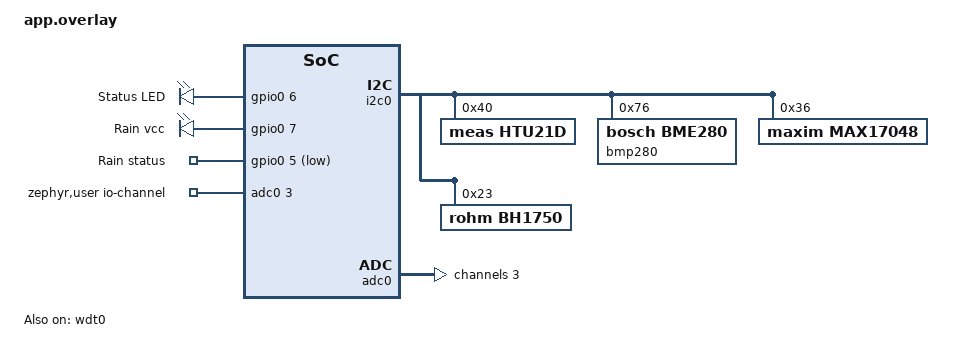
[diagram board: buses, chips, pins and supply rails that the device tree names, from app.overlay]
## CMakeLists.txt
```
cmake_minimum_required(VERSION 3.28.0)

set(BOARD_FLASH_RUNNER openocd)

find_package(Zephyr REQUIRED HINTS $ENV{ZEPHYR_BASE})

project(IoT_WeatherStation)

target_include_directories(app PRIVATE include)

target_sources(app PRIVATE 
src/main.cpp 
src/formulas.c 
src/wifi.c
src/mqtt.c
src/init.c
src/watchdog.c
src/creds/ca.c
src/creds/cert.c
src/creds/key.c)

# Optional features:
target_compile_definitions(app PRIVATE
	# LED_DIODE               # status LED on during the active phase
	# WAKE_COUNT              # read the battery only every BATTERY_READ_EVERY-th wake-up
	# BATTERY_READ_EVERY=10   # needed together with WAKE_COUNT
)
```

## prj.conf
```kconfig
CONFIG_GPIO=y
CONFIG_LOG=y
CONFIG_LOG_MODE_IMMEDIATE=y
CONFIG_I2C=y
CONFIG_SENSOR=y
CONFIG_CBPRINTF_FP_SUPPORT=y
CONFIG_POWEROFF=y

# Wi-Fi
CONFIG_NETWORKING=y
CONFIG_NET_IPV4=y
CONFIG_NET_DHCPV4=y

CONFIG_WIFI=y
CONFIG_NET_L2_WIFI_MGMT=y

CONFIG_NET_MGMT=y
CONFIG_NET_MGMT_EVENT=y
CONFIG_NET_MGMT_EVENT_INFO=y

# Stos dla main
CONFIG_MAIN_STACK_SIZE=8192

# Sprzętowy RNG ESP32
CONFIG_ENTROPY_GENERATOR=y

# Sieć: TCP, UDP (dla DNS), sockety
CONFIG_NET_TCP=y
CONFIG_NET_UDP=y
CONFIG_NET_SOCKETS=y
CONFIG_NET_SOCKETS_SOCKOPT_TLS=y

# DNS
CONFIG_DNS_RESOLVER=y
CONFIG_DNS_SERVER_IP_ADDRESSES=y
CONFIG_DNS_SERVER1="8.8.8.8"

# MQTT
CONFIG_MQTT_LIB=y
CONFIG_MQTT_LIB_TLS=y

# TLS (mbedTLS)
CONFIG_MBEDTLS=y
CONFIG_MBEDTLS_ENABLE_HEAP=y
CONFIG_MBEDTLS_HEAP_SIZE=65536
CONFIG_MBEDTLS_SSL_IN_CONTENT_LEN=16384
CONFIG_MBEDTLS_SSL_OUT_CONTENT_LEN=16384
CONFIG_MBEDTLS_PEM_PARSE_C=y
CONFIG_MBEDTLS_SSL_SERVER_NAME_INDICATION=y
CONFIG_MBEDTLS_CIPHERSUITE_TLS_ECDHE_RSA_WITH_AES_128_CBC_SHA256=y

# Battery lvl sensor
CONFIG_FUEL_GAUGE=y

# WDG
CONFIG_WATCHDOG=y

# BMP
CONFIG_BME280_MODE_FORCED=y

# JSON
CONFIG_JSON_LIBRARY=y

# ADC
CONFIG_ADC=y

# Cpp
CONFIG_CPP=y
```

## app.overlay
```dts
#include <zephyr/dt-bindings/adc/adc.h>


/ {
	aliases {
		status-led = &status_led;
		rain-status = &rain_status;
		rain-vcc = &rain_vcc_pin;
	};

	leds {
		compatible = "gpio-leds";
		status_led: status_led {
			gpios = <&gpio0 6 GPIO_ACTIVE_HIGH>;
			label = "Status LED";
		};
		rain_vcc_pin: rain_vcc_pin {
			gpios = <&gpio0 7 GPIO_ACTIVE_HIGH>;
			label = "Rain vcc";
		};
	};

	gpio_keys {
		compatible = "gpio-keys";
		rain_status: rain_status {
			gpios = <&gpio0 5 (GPIO_PULL_UP | GPIO_ACTIVE_LOW)>;
			label = "Rain status";
		};
};
};

&pinctrl {
	i2c0_default: i2c0_default {
		group1 {
			pinmux = <I2C0_SDA_GPIO1>,
				 <I2C0_SCL_GPIO2>;
			bias-pull-up;
			drive-open-drain;
			output-high;
		};
	};
};

&i2c0 {
	status = "okay";

	htu21d: htu21d@40 {
		compatible = "meas,htu21d";
		reg = <0x40>;
		status = "okay";
	};

	bmp280: bmp280@76 {
		compatible = "bosch,bme280";
		reg = <0x76>;
		status = "okay";
	};

	max17048: max17048@36 {
		compatible = "maxim,max17048";
		reg = <0x36>;
		status = "okay";
	};

	bh1750: bh1750@23 {
		compatible = "rohm,bh1750";
		reg = <0x23>;
		status = "okay";
	};
	
};

/ {
	zephyr,user {
		io-channels = <&adc0 3>;
	};
};

&adc0 {
	status = "okay";
	#address-cells = <1>;
	#size-cells = <0>;

	channel@3 {
		reg = <3>;
		zephyr,gain = "ADC_GAIN_1_4";
		zephyr,reference = "ADC_REF_INTERNAL";
		zephyr,acquisition-time = <ADC_ACQ_TIME_DEFAULT>;
		zephyr,resolution = <12>;
	};
};


&wdt0 {
    status = "okay";
};
```

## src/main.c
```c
#include <zephyr/kernel.h>
#include <zephyr/drivers/gpio.h>
#include <zephyr/drivers/adc.h>
#include <zephyr/device.h>
#include <zephyr/logging/log.h>
#include <zephyr/drivers/i2c.h>

// Json Parsing
#include <zephyr/data/json.h>
#include <string.h>

// HTU21D BMP280
#include <zephyr/drivers/sensor.h>
// MAX17048
#include <zephyr/drivers/fuel_gauge.h>

#include <errno.h>
#include <zephyr/sys/poweroff.h>
#include <esp_sleep.h>
#include <stdio.h>

// RTC memory
#include <esp_attr.h>

// User .h files
#include "formulas.h"
#include "wifi.h"
#include "mqtt.h"
#include "init.h"
#include "watchdog.h"

// **** Additional options in the code ****

// 1) Status diode -> enable LED_DIODE in CMakeLists.txt
// 2) Read the battery only every BATTERY_READ_EVERY-th wake-up -> enable both
//    WAKE_COUNT and BATTERY_READ_EVERY in CMakeLists.txt

#if defined(WAKE_COUNT) && !defined(BATTERY_READ_EVERY)
#error "WAKE_COUNT needs BATTERY_READ_EVERY to be defined"
#endif

#ifdef LED_DIODE
static const struct gpio_dt_spec led = GPIO_DT_SPEC_GET(DT_ALIAS(status_led), gpios);
#endif
static const struct gpio_dt_spec rain = GPIO_DT_SPEC_GET(DT_ALIAS(rain_status), gpios);
static const struct device *htu = DEVICE_DT_GET(DT_NODELABEL(htu21d));
static const struct device *bmp = DEVICE_DT_GET(DT_NODELABEL(bmp280));
static const struct device *max = DEVICE_DT_GET(DT_NODELABEL(max17048));
static const struct device *bh = DEVICE_DT_GET(DT_NODELABEL(bh1750));

/* Data of ADC io-channels specified in devicetree. */
static const struct adc_dt_spec rain_adc = ADC_DT_SPEC_GET(DT_PATH(zephyr_user));

LOG_MODULE_REGISTER(main, LOG_LEVEL_DBG);

struct htu21d_data
{
	struct sensor_value temperature;
	struct sensor_value humidity;
};

struct bmp280_data
{
	struct sensor_value pressure;
};

struct bh1750_data
{
	struct sensor_value lux; 
};

// Functions definitions
static int htu21d_read(struct htu21d_data *data);
static int bmp280_read(struct bmp280_data *data);
static int bh1750_read(struct bh1750_data *data);
static void Deep_sleep(void);
static int rain_adc_read(void);

#ifdef WAKE_COUNT
static RTC_DATA_ATTR uint32_t wake_count;
#endif
/*
 Keeping ptc in RTC memory means it survives deep sleep, so MQTT can send
 the last battery % reading on wake-ups where the battery is not read
 (only used when WAKE_COUNT is defined, otherwise it is read every wake-up)
*/
static RTC_DATA_ATTR int ptc = -1;

/* Wake up time kept in RTC memory, so a new interval from AWS survives deep sleep */
static RTC_DATA_ATTR uint32_t wakeup_time_sec = 60;

struct wake_time 
{
	int32_t interval;
};

static const struct json_obj_descr command_descr[] = {
	JSON_OBJ_DESCR_PRIM(struct wake_time, interval, JSON_TOK_NUMBER),
};


int main(void)
{
	struct htu21d_data data_htu;
	struct bmp280_data data_bmp;
	struct bh1750_data data_bh;
	double dew_point;
	double cloud_height;
	union fuel_gauge_prop_val val;

	

	if (watchdog_init() != 0)
	{
		Deep_sleep();
	}

#ifdef LED_DIODE
	if (gpio_init() == 0)
	{
		gpio_pin_set_dt(&led, 1);
	}
	else
	{
		Deep_sleep();
	}
#endif

	if (rain_init() != 0)
	{
		Deep_sleep();
	}

	if (adc_init() != 0) {
		Deep_sleep();
	}
	
	if (htu21d_init() != 0)
	{
		Deep_sleep();
	}

	if (bmp280_init() != 0)
	{
		Deep_sleep();
	}

	if (bh1750_init() != 0)
	{
		Deep_sleep();
	}

	// Do not disturb the whole process, just return an error
	if (max17048_init() != 0)
	{
		LOG_ERR("Battery level sensor failed...");
	}

#ifdef WAKE_COUNT
	wake_count++;
	// Read the % of the battery once every BATTERY_READ_EVERYth wake up times
	if ((wake_count - 1) % BATTERY_READ_EVERY == 0)
	{
#endif
		if (fuel_gauge_get_prop(max, FUEL_GAUGE_RELATIVE_STATE_OF_CHARGE_PCT, &val) == 0)
		{
			ptc = val.relative_state_of_charge_pct;
			LOG_INF("Battery percent is: [%d%%]", ptc);
		}
		else
		{
			ptc = -1;
			LOG_ERR("Battery read failed...");
		}

#ifdef WAKE_COUNT
	}
#endif

	// Buffers for the MQTT messages
	char payload[156];
	char payload2[64];

	/* There is no point in connecting to Wi-Fi if the sensor is not working,
	   just go to sleep */
	if (htu21d_read(&data_htu) != 0)
	{
		LOG_ERR("HTU Sensor failed -> skipping Wi-Fi and MQTT, going to sleep...");
		Deep_sleep();
	}

	if (bmp280_read(&data_bmp) != 0) {
		LOG_ERR("BMP Sensor failed -> skipping Wi-Fi and MQTT, going to sleep...");
		Deep_sleep();
	}

	if (bh1750_read(&data_bh) != 0) {
		LOG_ERR("BH Sensor failed -> skipping Wi-Fi and MQTT, going to sleep...");
		Deep_sleep();
	}

	// Data conversion: val1 + val2 -> double temp/hum
	double temp = sensor_value_to_double(&data_htu.temperature);
	double hum = sensor_value_to_double(&data_htu.humidity);
	double press = sensor_value_to_double(&data_bmp.pressure) * 10.0; // kPa -> hPa
	double lux = sensor_value_to_double(&data_bh.lux);
	bool rain_state = (gpio_pin_get_dt(&rain));
	int rain_mv = rain_adc_read();

	if (rain_mv < 0) {
		LOG_ERR("Rain ADC failed -> skipping Wi-Fi and MQTT, going to sleep...");
		Deep_sleep();
	}

	if (dew_point_calculation(temp, hum, &dew_point) == 0)
	{
		cloud_height_calculation(temp, dew_point, &cloud_height);
		LOG_INF("Lux: %.2f, Pressure: %.2f, Temperature: %.2f, Humidity: %.2f, Dew point: %.2f, Cloud height: %.2f, Rain: %d, Rain_ADC: %d",
				lux, press, temp, hum, dew_point, cloud_height, rain_state, rain_mv);

		snprintf(payload, sizeof(payload),
				 "{\"lux\":%.2f, \"pressure\":%.2f, \"temperature\":%.2f,\"humidity\":%.2f,"
				 "\"dew_point\":%.2f,\"cloud_height\":%.2f, \"Rain\":%d, \"Rain_ADC\":%d}",
				 lux, press, temp, hum, dew_point, cloud_height, rain_state, rain_mv);
	}
	else
	{
		LOG_ERR("Dew point calculation failed, sending other parameters...");

		snprintf(payload, sizeof(payload),
				 "{\"lux\":%.2f, \"pressure\":%.2f, \"temperature\":%.2f,\"humidity\":%.2f,\"Rain\":%d, \"Rain_ADC\":%d}",
				  lux, press, temp, hum, rain_state, rain_mv);
	}

	snprintf(payload2, sizeof(payload2),
			 "{\"battery percent\":%d}", ptc);

	if (wifi_connect() != 0)
	{
		Deep_sleep();
	}

	if (aws_mqtt_send(payload, payload2) != 0)
	{
		LOG_ERR("MQTT message send failed");
	}

	// Receive a message from AWS
	char *message = aws_mqtt_get_message();

	// Accept the message only if these conditions below are true
	if (message != NULL)
	{
		struct wake_time time;
		int64_t ret = json_obj_parse(message, strlen(message),
					     command_descr, ARRAY_SIZE(command_descr), &time);

		// The possible duration of deep sleep ranges from min. 1 minute to max. 60 minutes
		if (ret > 0 && (ret & BIT(0)) && time.interval >= 60 && time.interval <= 3600)
		{
			wakeup_time_sec = time.interval;
			LOG_INF("New wake up time is %u [s]", wakeup_time_sec);
		}
		else
		{
			LOG_ERR("Invalid command from AWS...");
		}
	}

	Deep_sleep();
	return 0;
}

static int htu21d_read(struct htu21d_data *data)
{
	int ret = sensor_sample_fetch(htu);
	if (ret < 0)
	{
		LOG_ERR("HTU21D fetch failed (err %d)", ret);
		return ret;
	}

	ret = sensor_channel_get(htu, SENSOR_CHAN_AMBIENT_TEMP, &data->temperature);
	if (ret < 0)
	{
		LOG_WRN("Temperature measurement failed...");
		return ret;
	}

	ret = sensor_channel_get(htu, SENSOR_CHAN_HUMIDITY, &data->humidity);
	if (ret < 0)
	{
		LOG_WRN("Humidity measurement failed...");
		return ret;
	}
	return 0;
}

static int bmp280_read(struct bmp280_data *data)
{
	int ret = sensor_sample_fetch(bmp);
	if (ret < 0)
	{
		LOG_ERR("BMP280 fetch failed (err %d)", ret);
		return ret;
	}

	ret = sensor_channel_get(bmp, SENSOR_CHAN_PRESS, &data->pressure);
	if (ret < 0)
	{
		LOG_WRN("Atmospheric pressure measurement failed...");
		return ret;
	}
	return 0;
}

static int bh1750_read(struct bh1750_data *data)
{
	int ret = sensor_sample_fetch(bh);
	if (ret < 0)
	{
		LOG_ERR("BH1750 fetch failed (err %d)", ret);
		return ret;
	}

	ret = sensor_channel_get(bh, SENSOR_CHAN_LIGHT, &data->lux);
	if (ret < 0)
	{
		LOG_WRN("light intensity measurement failed...");
		return ret;
	}
	return 0;
}

static void Deep_sleep(void)
{
	LOG_INF("Enabling timer wakeup, %us", wakeup_time_sec);
	esp_sleep_enable_timer_wakeup((uint64_t)wakeup_time_sec * 1000000);
	LOG_INF("Powering off");
	sys_poweroff();
}


static int rain_adc_read(void)
{

	uint32_t buf = 0;
	struct adc_sequence sequence = {
		.buffer = &buf,
		.buffer_size = sizeof(buf),
	};

	adc_sequence_init_dt(&rain_adc, &sequence);

	int ret = adc_read_dt(&rain_adc, &sequence);
			if (ret < 0) {
				LOG_ERR("Could not read rain ADC (%d)", ret);
				return ret;
			}

	int32_t val_mv = buf;

	ret = adc_raw_to_millivolts_dt(&rain_adc, &val_mv);
	if (ret < 0) {
		return ret;
	} 
	return val_mv;
}
```

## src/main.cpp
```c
#include <zephyr/kernel.h>
#include <zephyr/drivers/gpio.h>
#include <zephyr/drivers/adc.h>
#include <zephyr/device.h>
#include <zephyr/logging/log.h>

// Json Parsing
#include <zephyr/data/json.h>
#include <string.h>

// HTU21D BMP280 BH1750
#include <zephyr/drivers/sensor.h>
// MAX17048
#include <zephyr/drivers/fuel_gauge.h>

#include <errno.h>
#include <zephyr/sys/poweroff.h>
#include <esp_sleep.h>
#include <stdio.h>

// RTC memory
#include <esp_attr.h>

// User .h files
#include "formulas.h"
#include "wifi.h"
#include "mqtt.h"
#include "init.h"
#include "watchdog.h"

// **** Additional options in the code ****

// 1) Status diode -> enable LED_DIODE in CMakeLists.txt
// 2) Read the battery only every BATTERY_READ_EVERY-th wake-up -> enable both
//    WAKE_COUNT and BATTERY_READ_EVERY in CMakeLists.txt

#if defined(WAKE_COUNT) && !defined(BATTERY_READ_EVERY)
#error "WAKE_COUNT needs BATTERY_READ_EVERY to be defined"
#endif

#ifdef LED_DIODE
static const struct gpio_dt_spec led = GPIO_DT_SPEC_GET(DT_ALIAS(status_led), gpios);
#endif
static const struct gpio_dt_spec rain = GPIO_DT_SPEC_GET(DT_ALIAS(rain_status), gpios);
static const struct gpio_dt_spec rain_vcc = GPIO_DT_SPEC_GET(DT_ALIAS(rain_vcc), gpios);
static const struct device *max = DEVICE_DT_GET(DT_NODELABEL(max17048));

/* Data of ADC io-channels specified in devicetree. */
static const struct adc_dt_spec rain_adc = ADC_DT_SPEC_GET(DT_PATH(zephyr_user));

LOG_MODULE_REGISTER(main, LOG_LEVEL_DBG);

// Functions definitions
static void Deep_sleep(void);
static int rain_adc_read(void);

#ifdef WAKE_COUNT
static RTC_DATA_ATTR uint32_t wake_count;
#endif
/*
 Keeping ptc in RTC memory means it survives deep sleep, so MQTT can send
 the last battery % reading on wake-ups where the battery is not read
 (only used when WAKE_COUNT is defined, otherwise it is read every wake-up)
*/
static RTC_DATA_ATTR int ptc = -1;

/* Wake up time kept in RTC memory, so a new interval from AWS survives deep sleep */
static RTC_DATA_ATTR uint32_t wakeup_time_sec = 60;

struct wake_time
{
	int32_t interval;
};

static const struct json_obj_descr command_descr[] = {
	JSON_OBJ_DESCR_PRIM(struct wake_time, interval, JSON_TOK_NUMBER),
};

class Sensor
{

public:
	explicit Sensor(const struct device *dev) : dev_(dev) {}

	bool ready() const
	{
		return device_is_ready(dev_);
	}

	int fetch() const
	{
		return sensor_sample_fetch(dev_);
	}

	int get(enum sensor_channel chan, double &out) const
	{
		struct sensor_value val;

		int ret = sensor_channel_get(dev_, chan, &val);
		if (ret == 0)
		{
			out = sensor_value_to_double(&val);
		}
		return ret;
	}

private:
	const struct device *dev_;
};

int main(void)
{

	Sensor htu(DEVICE_DT_GET(DT_NODELABEL(htu21d)));
	Sensor bmp(DEVICE_DT_GET(DT_NODELABEL(bmp280)));
	Sensor bh(DEVICE_DT_GET(DT_NODELABEL(bh1750)));

	double temp, hum, press, lux;
	double dew_point;
	double cloud_height;
	union fuel_gauge_prop_val val;

	if (watchdog_init() != 0)
	{
		Deep_sleep();
	}

#ifdef LED_DIODE
	if (gpio_init() == 0)
	{
		gpio_pin_set_dt(&led, 1);
	}
	else
	{
		Deep_sleep();
	}
#endif

	if (rain_init() != 0)
	{
		Deep_sleep();
	}
	else {
		// Enable the VCC pin for the Rain sensor
		gpio_pin_set_dt(&rain_vcc, 1);
	}

	if (adc_init() != 0)
	{
		Deep_sleep();
	}

	// Check the devices (htu, bmp, bh)
	if (!htu.ready() || !bmp.ready() || !bh.ready())
	{
		Deep_sleep();
	}

	// Get the measurements from 3 sensors (htu, bmp, bh)
	if (htu.fetch() != 0 ||
		htu.get(SENSOR_CHAN_AMBIENT_TEMP, temp) != 0 ||
		htu.get(SENSOR_CHAN_HUMIDITY, hum) != 0 ||
		bmp.fetch() != 0 ||
		bmp.get(SENSOR_CHAN_PRESS, press) != 0 ||
		bh.fetch() != 0 ||
		bh.get(SENSOR_CHAN_LIGHT, lux) != 0)
	{
		LOG_ERR("Sensor read failed -> skipping Wi-Fi and MQTT, going to sleep...");
		Deep_sleep();
	}
	press *= 10.0; // kPa -> hPa

	// Do not disturb the whole process, just return an error
	if (max17048_init() != 0)
	{
		LOG_ERR("Battery level sensor failed...");
	}

#ifdef WAKE_COUNT
	wake_count++;
	// Read the % of the battery once every BATTERY_READ_EVERYth wake up times
	if ((wake_count - 1) % BATTERY_READ_EVERY == 0)
	{
#endif
		if (fuel_gauge_get_prop(max, FUEL_GAUGE_RELATIVE_STATE_OF_CHARGE_PCT, &val) == 0)
		{
			ptc = val.relative_state_of_charge_pct;
			LOG_INF("Battery percent is: [%d%%]", ptc);
		}
		else
		{
			ptc = -1;
			LOG_ERR("Battery read failed...");
		}

#ifdef WAKE_COUNT
	}
#endif

	// Buffers for the MQTT messages
	char payload[156];
	char payload2[64];

	bool rain_state = (gpio_pin_get_dt(&rain));
	int rain_mv = rain_adc_read();

	if (rain_mv < 0)
	{
		LOG_ERR("Rain ADC failed -> skipping Wi-Fi and MQTT, going to sleep...");
		Deep_sleep();
	}

	if (dew_point_calculation(temp, hum, &dew_point) == 0)
	{
		cloud_height_calculation(temp, dew_point, &cloud_height);
		LOG_INF("Lux: %.2f, Pressure: %.2f, Temperature: %.2f, Humidity: %.2f, Dew point: %.2f, Cloud_height: %.2f, Rain: %d, Rain_ADC: %d",
				lux, press, temp, hum, dew_point, cloud_height, rain_state, rain_mv);

		snprintf(payload, sizeof(payload),
				 "{\"Lux\":%.2f, \"Pressure\":%.2f, \"Temperature\":%.2f,\"Humidity\":%.2f,"
				 "\"Dew_point\":%.2f,\"Cloud_height\":%.2f, \"Rain\":%d, \"Rain_ADC\":%d}",
				 lux, press, temp, hum, dew_point, cloud_height, rain_state, rain_mv);
	}
	else
	{
		LOG_ERR("Dew point calculation failed, sending other parameters...");

		snprintf(payload, sizeof(payload),
				 "{\"lux\":%.2f, \"Pressure\":%.2f, \"Temperature\":%.2f,\"Humidity\":%.2f,\"Rain\":%d, \"Rain_ADC\":%d}",
				 lux, press, temp, hum, rain_state, rain_mv);
	}

	snprintf(payload2, sizeof(payload2),
			 "{\"battery_percent\":%d}", ptc);

	if (wifi_connect() != 0)
	{
		Deep_sleep();
	}

	if (aws_mqtt_send(payload, payload2) != 0)
	{
		LOG_ERR("MQTT message send failed");
	}

	// Receive a message from AWS
	char *message = aws_mqtt_get_message();

	// Accept the message only if these conditions below are true
	if (message != NULL)
	{
		struct wake_time time;
		int64_t ret = json_obj_parse(message, strlen(message),
									 command_descr, ARRAY_SIZE(command_descr), &time);

		// The possible duration of deep sleep ranges from min. 1 minute to max. 60 minutes
		if (ret > 0 && (ret & BIT(0)) && time.interval >= 60 && time.interval <= 3600)
		{
			wakeup_time_sec = time.interval;
			LOG_INF("New wake up time is %u [s]", wakeup_time_sec);
		}
		else
		{
			LOG_ERR("Invalid command from AWS...");
		}
	}

	// Disable the VCC pin for the rain sensor before going to sleep
	gpio_pin_set_dt(&rain_vcc, 0);

	Deep_sleep();
	return 0;
}

static void Deep_sleep(void)
{
	LOG_INF("Enabling timer wakeup, %us", wakeup_time_sec);
	esp_sleep_enable_timer_wakeup((uint64_t)wakeup_time_sec * 1000000);
	LOG_INF("Powering off");
	sys_poweroff();
}

static int rain_adc_read(void)
{

	uint32_t buf = 0;
	struct adc_sequence sequence = {
		.buffer = &buf,
		.buffer_size = sizeof(buf),
	};

	adc_sequence_init_dt(&rain_adc, &sequence);

	int ret = adc_read_dt(&rain_adc, &sequence);
	if (ret < 0)
	{
		LOG_ERR("Could not read rain ADC (%d)", ret);
		return ret;
	}

	int32_t val_mv = buf;

	ret = adc_raw_to_millivolts_dt(&rain_adc, &val_mv);
	if (ret < 0)
	{
		return ret;
	}
	return val_mv;
}
```

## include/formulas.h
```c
#pragma once 

#ifdef __cplusplus
extern "C"
{
#endif

int cloud_height_calculation(double t, double dew_point, double *cloud_height);
int dew_point_calculation(double t, double h, double  *dew_point);

#ifdef __cplusplus
}
#endif
```

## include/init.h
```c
#pragma once 

#ifdef __cplusplus
extern "C"
{
#endif

int gpio_init(void);
int max17048_init(void);
int rain_init(void);
int adc_init(void);

#ifdef __cplusplus
}
#endif
```

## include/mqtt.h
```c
#pragma once

#ifdef __cplusplus
extern "C"
{
#endif

// Send message to AWS
int aws_mqtt_send(const char *payload, const char *payload2);

// Receive a message from AWS
char *aws_mqtt_get_message(void);

#ifdef __cplusplus
}
#endif
```

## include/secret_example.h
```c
#pragma once 

// #define WIFI_SSID "your_ssid"
// #define WIFI_PSK  "your_password"

// #define AWS_ENDPOINT      "xxxxxxxxxxxxxx-ats.iot.eu-central-1.amazonaws.com"
// #define AWS_THING_NAME    "your_thing_name"
// #define AWS_PUBLISH_TOPIC_1 "your_topic_1"
// #define AWS_PUBLISH_TOPIC_2 "your_topic_2"
// #define AWS_SUBSCRIBE_TOPIC "your_subscribe_topic"
```

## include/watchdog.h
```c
#pragma once

#ifdef __cplusplus
extern "C"
{
#endif

int watchdog_init(void);

#ifdef __cplusplus
}
#endif
```

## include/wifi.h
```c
#pragma once

#ifdef __cplusplus
extern "C"
{
#endif

int wifi_connect(void);

#ifdef __cplusplus
}
#endif
```

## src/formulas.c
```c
#include <zephyr/logging/log.h>
#include <math.h>
#include <errno.h>
#include <formulas.h>

LOG_MODULE_REGISTER(formulas, LOG_LEVEL_DBG);

// Obliczanie punktu rosy
// Magnus-Tetens formula
int dew_point_calculation(double t, double h, double  *dew_point) {
if (h > 100 || h <= 0) {
LOG_WRN("Data for the dew point calculation is not valid");
return -EINVAL;
}
else {
const double a = 17.625;
const double b = 243.04;

double alpha = ((a * t) / (b + t)) + log(h / 100);

*dew_point = ((b * alpha) / (a - alpha));
return 0;
}
}

// Wzor na wysokosc podstawy chmur
int cloud_height_calculation(double t, double dew_point, double *cloud_height) {
	if (dew_point > t) {
		*cloud_height = 0.0;
		return 0;
	}
	*cloud_height = (t - dew_point) * 125;
	return 0;
}
```

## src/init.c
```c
#include <zephyr/kernel.h>
#include <zephyr/drivers/gpio.h>
#include <zephyr/device.h>
#include <zephyr/logging/log.h>
#include <errno.h>
#include <stdio.h>
#include <zephyr/dt-bindings/adc/adc.h>
#include <zephyr/drivers/adc.h>

// User .h files
#include "init.h"

LOG_MODULE_REGISTER(init, LOG_LEVEL_DBG);

// Devices definition
#ifdef LED_DIODE
static const struct gpio_dt_spec led = GPIO_DT_SPEC_GET(DT_ALIAS(status_led), gpios);
#endif
static const struct gpio_dt_spec rain = GPIO_DT_SPEC_GET(DT_ALIAS(rain_status), gpios);
static const struct gpio_dt_spec rain_vcc = GPIO_DT_SPEC_GET(DT_ALIAS(rain_vcc), gpios);
static const struct device *max = DEVICE_DT_GET(DT_NODELABEL(max17048));

/* Data of ADC io-channels specified in devicetree. */
static const struct adc_dt_spec rain_adc = ADC_DT_SPEC_GET(DT_PATH(zephyr_user));

#ifdef LED_DIODE
int gpio_init(void)
{
	if (!gpio_is_ready_dt(&led))
	{
		LOG_ERR("Status LED device is not ready...");
		return -ENODEV;
	}
	int ret = gpio_pin_configure_dt(&led, GPIO_OUTPUT_INACTIVE);
	if (ret < 0)
	{
		LOG_ERR("Status LED config failed (err %d)", ret);
		return ret;
	}
	return 0;
}
#endif

int rain_init(void)
{
	if (!gpio_is_ready_dt(&rain) || !gpio_is_ready_dt(&rain_vcc))
	{
		LOG_ERR("Rain device is not ready...");
		return -ENODEV;
	}
	int ret = gpio_pin_configure_dt(&rain, GPIO_INPUT);
	if (ret < 0)
	{
		LOG_ERR("Rain device config failed (err %d)", ret);
		return ret;
	}
	ret = gpio_pin_configure_dt(&rain_vcc, GPIO_OUTPUT);
	if (ret < 0)
	{
		LOG_ERR("Rain vcc pin config failed (err %d)", ret);
		return ret;
	}
	return 0;
}

int max17048_init(void)
{
	if (!device_is_ready(max))
	{
		LOG_ERR("MAX17048 device is not ready");
		return -ENODEV;
	}
	return 0;
}

int adc_init(void)
{
	if (!adc_is_ready_dt(&rain_adc))
	{
		LOG_ERR("Rain sensor adc is not ready");
		return -ENODEV;
	}
	int ret = adc_channel_setup_dt(&rain_adc);
	if (ret < 0)
	{
		LOG_ERR("Rain adc config failed (err %d)", ret);
		return ret;
	}
	return 0;
}
```

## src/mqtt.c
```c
#include <zephyr/kernel.h>
#include <zephyr/logging/log.h>
#include <zephyr/net/socket.h>
#include <zephyr/net/mqtt.h>
#include <zephyr/net/tls_credentials.h>
#include <string.h>
#include <stdio.h>

/*
 NOTE
 Parts marked with CONSTANT are standard AWS MQTT/TLS setup.
 They stay the same in every project like this one, only the values
 in secret.h (see secret_example.h) and the certs in src/creds/ change.
 Lines marked with CHANGE are the ones to adjust, the comment says when.
*/


/* User .h files */
#include "mqtt.h"
#include "creds/creds.h"
#include "secret.h"

LOG_MODULE_REGISTER(mqtt, LOG_LEVEL_DBG);

/* AWS IoT Core settings */
#define AWS_PORT          8883  /* CHANGE: 443 if the network blocks 8883 (needs ALPN, see AWS sample) */
#define MQTT_BUFFER_SIZE 256u  /* CHANGE: increase if topic + payload get bigger than ~200 B */
#define APP_BUFFER_SIZE  256u  /* CHANGE: increase for longer messages from AWS */
#define MQTT_TIMEOUT_MS  10000 /* CHANGE: longer for weak Wi-Fi, shorter to save battery */

#define TLS_TAG_DEVICE 1
#define TLS_TAG_AWS_CA 2

/*
 Credential tags the TLS connection may use: our cert + key (tag 1)
 and the Amazon Root CA used to check the server (tag 2)
*/

/* *** CONSTANT *** */
static const sec_tag_t sec_tls_tags[] = {
	TLS_TAG_DEVICE,
	TLS_TAG_AWS_CA,
};

/* *** CONSTANT *** */
static uint8_t rx_buffer[MQTT_BUFFER_SIZE];
static uint8_t tx_buffer[MQTT_BUFFER_SIZE];
static uint8_t buffer[APP_BUFFER_SIZE];
static struct mqtt_client client_ctx;
static struct net_sockaddr_storage aws_broker;
static bool connack_received;
static bool puback_received;
static bool message_received;


/*
 Register the device cert, its private key and the Amazon Root CA in the
 TLS credential store, so the TLS handshake can find them by tag
*/

/* *** CONSTANT *** */
static int setup_credentials(void)
{
	int ret;

	ret = tls_credential_add(TLS_TAG_DEVICE, TLS_CREDENTIAL_PUBLIC_CERTIFICATE,
				 public_cert, public_cert_len);
	if (ret < 0 && ret != -EEXIST) {
		LOG_ERR("Failed to add device certificate (err %d)", ret);
		return ret;
	}

	ret = tls_credential_add(TLS_TAG_DEVICE, TLS_CREDENTIAL_PRIVATE_KEY,
				 private_key, private_key_len);
	if (ret < 0 && ret != -EEXIST) {
		LOG_ERR("Failed to add device private key (err %d)", ret);
		return ret;
	}

	ret = tls_credential_add(TLS_TAG_AWS_CA, TLS_CREDENTIAL_CA_CERTIFICATE,
				 ca_cert, ca_cert_len);
	if (ret < 0 && ret != -EEXIST) {
		LOG_ERR("Failed to add CA certificate (err %d)", ret);
		return ret;
	}
	return 0;
}

/* Look up the AWS endpoint in DNS and store its IP address in aws_broker */
/* *** CONSTANT *** */
static int resolve_broker_addr(void)
{
	struct zsock_addrinfo *ai = NULL;
	const struct zsock_addrinfo hints = {
		.ai_family = NET_AF_INET,
		.ai_socktype = NET_SOCK_STREAM,
	};
	char port_string[6];

	snprintf(port_string, sizeof(port_string), "%d", AWS_PORT);

	int ret = zsock_getaddrinfo(AWS_ENDPOINT, port_string, &hints, &ai);
	if (ret != 0) {
		LOG_ERR("Failed to resolve %s (err %d)", AWS_ENDPOINT, ret);
		return -EHOSTUNREACH;
	}

	memcpy(&aws_broker, ai->ai_addr, MIN(ai->ai_addrlen, sizeof(aws_broker)));
	zsock_freeaddrinfo(ai);
	return 0;
}

/*
 Read a message from AWS into buffer and confirm it with PUBACK (QoS 1).
 A message bigger than buffer is read to the end, but discarded.
*/
/* *** CONSTANT *** */
static ssize_t handle_published_message(const struct mqtt_publish_param *pub)
{
	int ret;
	size_t received = 0u;
	const size_t message_size = pub->message.payload.len;
	const bool discarded = message_size >= APP_BUFFER_SIZE;

	/* The topic has no '\0' at the end, so %.*s prints exactly size characters */
	LOG_INF("RECEIVED on topic \"%.*s\" [ id: %u qos: %u ] payload: %u / %u B",
		pub->message.topic.topic.size, (const char *)pub->message.topic.topic.utf8,
		pub->message_id, pub->message.topic.qos, message_size, APP_BUFFER_SIZE);

	while (received < message_size) {
		uint8_t *p = discarded ? buffer : &buffer[received];

		ret = mqtt_read_publish_payload_blocking(&client_ctx, p, APP_BUFFER_SIZE);
		if (ret < 0) {
			return ret;
		}

		received += ret;
	}

	if (!discarded) {
		buffer[message_size] = '\0';
	}

	/* Send ACK */
	switch (pub->message.topic.qos) {
	case MQTT_QOS_1_AT_LEAST_ONCE: {
		struct mqtt_puback_param puback;

		puback.message_id = pub->message_id;
		mqtt_publish_qos1_ack(&client_ctx, &puback);
	} break;
	case MQTT_QOS_2_EXACTLY_ONCE: /* unhandled (not supported by AWS) */
	case MQTT_QOS_0_AT_MOST_ONCE: /* nothing to do */
	default:
		break;
	}

	return discarded ? -ENOMEM : received;
}

/* Ask AWS to forward messages from AWS_SUBSCRIBE_TOPIC to this device */
/* *** CONSTANT *** */
static int subscribe_topic(void)
{
	int ret;
	struct mqtt_topic topics[] = {{
		.topic = {.utf8 = (const uint8_t*)AWS_SUBSCRIBE_TOPIC,
			  .size = strlen(AWS_SUBSCRIBE_TOPIC)},
		.qos = MQTT_QOS_1_AT_LEAST_ONCE,
	}};
	const struct mqtt_subscription_list sub_list = {
		.list = topics,
		.list_count = ARRAY_SIZE(topics),
		.message_id = 3u,
	};

	LOG_INF("Subscribing to %hu topic(s)", sub_list.list_count);

	ret = mqtt_subscribe(&client_ctx, &sub_list);
	if (ret != 0) {
		LOG_ERR("Failed to subscribe to topics: %d", ret);
	}

	return ret;
}

/*
 Called by mqtt_input() whenever a packet from AWS arrives.
 It only sets flags, wait_for() checks them.
*/
static void mqtt_event_cb(struct mqtt_client *client, const struct mqtt_evt *evt)
{
	switch (evt->type) {
	/* AWS accepted (or refused) our CONNECT */
	case MQTT_EVT_CONNACK:
		if (evt->result == 0) {
			LOG_INF("MQTT connected");
			connack_received = true;
		}
		else {
			LOG_ERR("MQTT connection refused (%d)", evt->result);
		}
		break;
	
	case MQTT_EVT_PUBLISH: {
		const struct mqtt_publish_param *pub = &evt->param.publish;

		if (handle_published_message(pub) >= 0) {
		message_received = true;
		}
	} break;	

	/* AWS got our QoS 1 message */
	case MQTT_EVT_PUBACK:
		LOG_INF("Message delivered (id %u)", evt->param.puback.message_id);
		puback_received = true;
		break;
	case MQTT_EVT_DISCONNECT:
		LOG_INF("MQTT disconnected");
		break;
	case MQTT_EVT_SUBACK:
		LOG_INF("SUBACK result: %d, code: 0x%02x", evt->result,
			evt->param.suback.return_codes.data[0]);
		break;

	default:
		break;
	}
}

/* Fill in the MQTT client: who we are, where we connect, buffers and TLS */
/* *** CONSTANT *** */
static void client_setup(void)
{
	mqtt_client_init(&client_ctx);

	client_ctx.broker = &aws_broker;
	client_ctx.evt_cb = mqtt_event_cb;

	client_ctx.client_id.utf8 = (const uint8_t *)AWS_THING_NAME;
	client_ctx.client_id.size = strlen(AWS_THING_NAME);
	client_ctx.protocol_version = MQTT_VERSION_3_1_1;

	client_ctx.rx_buf = rx_buffer;
	client_ctx.rx_buf_size = sizeof(rx_buffer);
	client_ctx.tx_buf = tx_buffer;
	client_ctx.tx_buf_size = sizeof(tx_buffer);

	client_ctx.transport.type = MQTT_TRANSPORT_SECURE;
	struct mqtt_sec_config *tls_config = &client_ctx.transport.tls.config;

	tls_config->peer_verify = TLS_PEER_VERIFY_REQUIRED;
	tls_config->cipher_list = NULL;
	tls_config->sec_tag_list = sec_tls_tags;
	tls_config->sec_tag_count = ARRAY_SIZE(sec_tls_tags);
	tls_config->hostname = AWS_ENDPOINT;
}

/* Read packets from AWS until the callback sets *flag or the time runs out */
/* *** CONSTANT *** */
static int wait_for(bool *flag, int timeout_ms)
{
	struct zsock_pollfd fds = {
		.fd = client_ctx.transport.tls.sock,
		.events = ZSOCK_POLLIN,
	};
	int64_t deadline = k_uptime_get() + timeout_ms;

	while (!*flag) {
		int left = (int)(deadline - k_uptime_get());
		if (left <= 0) {
			return -ETIMEDOUT;
		}

		if (zsock_poll(&fds, 1, left) < 0) {
			return -errno;
		}

		if (fds.revents & ZSOCK_POLLIN) {
			int ret = mqtt_input(&client_ctx);
			if (ret != 0) {
				return ret;
			}
		}

		if (fds.revents & (ZSOCK_POLLHUP | ZSOCK_POLLERR)) {
			return -ECONNRESET;
		}
	}
	return 0;
}


/* Publish one message with QoS 1 and wait until AWS confirms it with PUBACK */
static int publish_and_wait(const char *topic, const char *payload, uint16_t id)
{
	struct mqtt_publish_param msg = {
		.message.topic.topic.utf8 = (const uint8_t *)topic,
		.message.topic.topic.size = strlen(topic),
		.message.topic.qos = MQTT_QOS_1_AT_LEAST_ONCE, /* CHANGE: QoS 0 if delivery confirmation is not needed */
		.message.payload.data = (uint8_t *)payload,
		.message.payload.len = strlen(payload),
		.message_id = id,
	};

	/* Clear the flag so we wait for the PUBACK of this message, not an older one */
	puback_received = false;

	int ret = mqtt_publish(&client_ctx, &msg);
	if (ret != 0) {
		LOG_ERR("mqtt_publish failed (err %d)", ret);
		return ret;
	}
	LOG_INF("Published to %s: %s", topic, payload);

	/* CHANGE: remove this wait when using QoS 0, AWS sends no PUBACK then */
	ret = wait_for(&puback_received, MQTT_TIMEOUT_MS);
	if (ret != 0) {
		LOG_ERR("No PUBACK (err %d)", ret);
	}
	return ret;
}

/*
 Connect to AWS, publish the messages and disconnect.
 payload goes to AWS_PUBLISH_TOPIC_1, payload2 to AWS_PUBLISH_TOPIC_2
 (pass NULL as payload2 to skip it).
 Returns 0 only when AWS confirmed every message with PUBACK.
*/
int aws_mqtt_send(const char *payload, const char *payload2)
{
	int ret;

	connack_received = false;
	message_received = false;

	ret = setup_credentials();
	if (ret != 0) {
		return ret;
	}

	ret = resolve_broker_addr();
	if (ret != 0) {
		return ret;
	}

	client_setup();

	ret = mqtt_connect(&client_ctx);
	if (ret != 0) {
		LOG_ERR("mqtt_connect failed (err %d)", ret);
		return ret;
	}

	/* mqtt_connect() only sends CONNECT, the answer comes later */
	ret = wait_for(&connack_received, MQTT_TIMEOUT_MS);
	if (ret != 0) {
		LOG_ERR("No CONNACK (err %d)", ret);
		goto disconnect;
	}

	/* A failed subscribe should not stop the measurements from being sent */
	subscribe_topic();

	/* CHANGE: add another publish_and_wait() with the next id for another topic */
	ret = publish_and_wait(AWS_PUBLISH_TOPIC_1, payload, 1);
	if (ret != 0) {
		goto disconnect;
	}

	if (payload2 != NULL) {
		ret = publish_and_wait(AWS_PUBLISH_TOPIC_2, payload2, 2);
	}

	// Give aws a moment to deliver a message
	if (ret == 0) {
		wait_for(&message_received, 4000);
	}

disconnect:
	mqtt_disconnect(&client_ctx, NULL);
	return ret;
}


/*
Returns the message from AWS as a text
*/
char *aws_mqtt_get_message(void) {
	return message_received ? (char *)buffer : NULL;
}
```

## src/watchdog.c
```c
#include <zephyr/device.h>
#include <zephyr/drivers/watchdog.h>

#include "watchdog.h"

static const struct device *wdt = DEVICE_DT_GET(DT_NODELABEL(wdt0));

static int wdt_channel;

static struct wdt_timeout_cfg wdt_cfg = {
    .window.min = 0,
    .window.max = 30000, // 30000 -> 30 s 
    .callback = NULL,
    .flags = WDT_FLAG_RESET_SOC
};


int watchdog_init(void) {
    if (!device_is_ready(wdt)) {
        return -1;
    }

    wdt_channel = wdt_install_timeout(wdt, &wdt_cfg);
    if (wdt_channel < 0 || wdt_setup(wdt, WDT_OPT_PAUSE_HALTED_BY_DBG) < 0) {
        return -1;
    }

    return 0;
}
```

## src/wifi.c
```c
#include <zephyr/logging/log.h>
#include <zephyr/net/wifi_mgmt.h>
#include <string.h>
#include <zephyr/net/net_mgmt.h>
#include <zephyr/net/net_event.h>

/* User .h files */
#include "secret.h"

/*
 NOTE
 Parts marked with CONSTANT are standard Zephyr Wi-Fi station setup.
 They stay the same in every project like this one.
 Lines marked with CHANGE are the ones to adjust, the comment says when.
*/

LOG_MODULE_REGISTER(WiFi, LOG_LEVEL_DBG);

/* Signalled by the callback when the router accepts or rejects us */
/* *** CONSTANT *** */
K_SEM_DEFINE(wifi_sem, 0, 1);
static int wifi_status;
#define WIFI_TIMEOUT K_SECONDS(15) /* CHANGE: longer if it often times out (weak signal), shorter to save battery */

/* Signalled when DHCP gives us an IP address */
/* *** CONSTANT *** */
K_SEM_DEFINE(ipv4_sem, 0, 1);
static struct net_mgmt_event_callback ipv4_mgmt_cb;

/* Called by Zephyr when the interface gets an IPv4 address from DHCP */
/* *** CONSTANT *** */
static void ipv4_event_handler(struct net_mgmt_event_callback *cb,
uint64_t mgmt_event, struct net_if *iface)
{
    if (mgmt_event == NET_EVENT_IPV4_ADDR_ADD) {
        LOG_INF("IPv4 address assigned");
        k_sem_give(&ipv4_sem);
    }
}

/* Save the result of the connection attempt and wake up wifi_connect() */
/* *** CONSTANT *** */
static struct net_mgmt_event_callback wifi_shell_mgmt_cb;
static void handle_wifi_connect_result(struct net_mgmt_event_callback *cb)
{
const struct wifi_status *status = (const struct wifi_status *)
                       cb->info;
    wifi_status = status->status;

    if (wifi_status) {
        LOG_ERR("Connection request failed (%d)", wifi_status);
    }
    else {
        LOG_INF("WiFI connected");
    }
    k_sem_give(&wifi_sem);
    }

/* Called by Zephyr for Wi-Fi events, passes the connect result on */
/* *** CONSTANT *** */
static void wifi_mgmt_event_handler(struct net_mgmt_event_callback *cb,
uint64_t mgmt_event, struct net_if *iface)
{
switch (mgmt_event) {
case NET_EVENT_WIFI_CONNECT_RESULT:
handle_wifi_connect_result(cb);
break;
default:
break;
    }
}

/*
 Connect to the router and wait until DHCP gives us an IP address.
 Returns 0 only when the device is ready to talk to the internet.
*/
int wifi_connect(void)
{
    /* Register the callbacks before connecting, so no event is missed */
    net_mgmt_init_event_callback(&wifi_shell_mgmt_cb, wifi_mgmt_event_handler,
                                 NET_EVENT_WIFI_CONNECT_RESULT);
    net_mgmt_add_event_callback(&wifi_shell_mgmt_cb);

    net_mgmt_init_event_callback(&ipv4_mgmt_cb, ipv4_event_handler,
                                 NET_EVENT_IPV4_ADDR_ADD);
    net_mgmt_add_event_callback(&ipv4_mgmt_cb);


    struct net_if *iface = net_if_get_default();
    static struct wifi_connect_req_params cnx_params = {
        .ssid = WIFI_SSID,
        .psk = WIFI_PSK,
        /* channel = 0 -> scan all the channels, it is possible to
           speed up the connection by specifying the router's 2.4 GHz channel
           (1 in my case) */
        .channel = 0, /* CHANGE: set the router's channel */
        .security = WIFI_SECURITY_TYPE_PSK, /* CHANGE: WIFI_SECURITY_TYPE_SAE for a WPA3-only router (needs CONFIG_ESP32_WIFI_ENABLE_WPA3_SAE=y) */
    };
    cnx_params.ssid_length = strlen(WIFI_SSID);
    cnx_params.psk_length  = strlen(WIFI_PSK);

    if (net_mgmt(NET_REQUEST_WIFI_CONNECT, iface, &cnx_params, sizeof(cnx_params))) {
        LOG_ERR("WiFi: connection request denied");
        return -1;
    }

    /* The request only starts connecting, the result comes later in the callback */
    if (k_sem_take(&wifi_sem, WIFI_TIMEOUT) != 0) {
        LOG_ERR("WiFi: timeout");
        return -1;
    }

    if (wifi_status != 0) {
        return -1;
    }

    /* Connected to the router, now wait for DHCP to give us an IP address */
    if (k_sem_take(&ipv4_sem, WIFI_TIMEOUT) != 0) {
        LOG_ERR("WiFi: no IP address from DHCP");
        return -1;
    }
    return 0;
}
```
